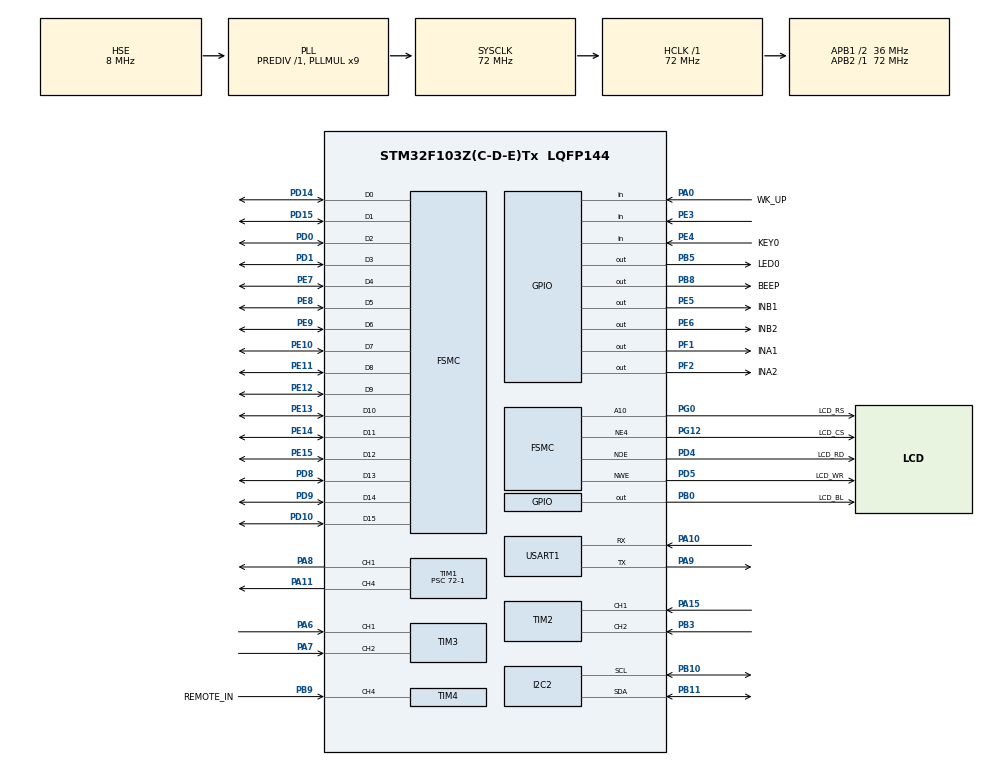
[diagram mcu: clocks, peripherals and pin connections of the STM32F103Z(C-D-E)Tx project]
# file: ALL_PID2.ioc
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FSMC.AddressSetupTime1=0
FSMC.BusTurnAroundDuration1=0
FSMC.DataSetupTime1=1
FSMC.ExtendedAddressSetupTime1=0
FSMC.ExtendedBusTurnAroundDuration1=0
FSMC.ExtendedDataSetupTime1=1
FSMC.ExtendedMode1=FSMC_EXTENDED_MODE_ENABLE
I2C2.I2C_Mode=I2C_Fast
Mcu.Family=STM32F1
Mcu.Name=STM32F103Z(C-D-E)Tx
Mcu.Package=LQFP144
NVIC.PriorityGroup=NVIC_PRIORITYGROUP_2
NVIC.TIM4_IRQn=true\:0\:0\:false\:false\:true\:true\:true\:true
NVIC.TIM6_IRQn=true\:0\:0\:false\:false\:true\:true\:true\:true
NVIC.USART1_IRQn=true\:0\:0\:false\:false\:true\:true\:true\:true
OSC_IN.Mode=HSE-External-Oscillator
OSC_IN.Signal=RCC_OSC_IN
OSC_OUT.Mode=HSE-External-Oscillator
OSC_OUT.Signal=RCC_OSC_OUT
PA0-WKUP.GPIO_Label=WK_UP
PA0-WKUP.GPIO_PuPd=GPIO_PULLDOWN
PA0-WKUP.Signal=GPIO_Input
PA10.Mode=Asynchronous
PA10.Signal=USART1_RX
PA11.Signal=S_TIM1_CH4
PA13.Mode=Serial_Wire
PA13.Signal=SYS_JTMS-SWDIO
PA14.Mode=Serial_Wire
PA14.Signal=SYS_JTCK-SWCLK
PA15.Signal=S_TIM2_CH1_ETR
PA6.Signal=S_TIM3_CH1
PA7.Signal=S_TIM3_CH2
PA8.Signal=S_TIM1_CH1
PA9.Mode=Asynchronous
PA9.Signal=USART1_TX
PB0.GPIO_Label=LCD_BL
PB0.GPIO_PuPd=GPIO_PULLUP
PB0.GPIO_Speed=GPIO_SPEED_FREQ_HIGH
PB0.PinState=GPIO_PIN_SET
PB0.Signal=GPIO_Output
PB10.Mode=I2C
PB10.Signal=I2C2_SCL
PB11.Mode=I2C
PB11.Signal=I2C2_SDA
PB3.Signal=S_TIM2_CH2
PB5.GPIO_Label=LED0
PB5.GPIO_PuPd=GPIO_PULLUP
PB5.GPIO_Speed=GPIO_SPEED_FREQ_HIGH
PB5.PinState=GPIO_PIN_SET
PB5.Signal=GPIO_Output
PB8.GPIO_Label=BEEP
PB8.GPIO_ModeDefaultOutputPP=GPIO_MODE_OUTPUT_PP
PB8.GPIO_PuPd=GPIO_PULLDOWN
PB8.GPIO_Speed=GPIO_SPEED_FREQ_HIGH
PB8.PinState=GPIO_PIN_RESET
PB8.Signal=GPIO_Output
PB9.GPIO_Label=REMOTE_IN
PB9.GPIO_PuPd=GPIO_PULLUP
PB9.Signal=S_TIM4_CH4
PC14-OSC32_IN.Mode=LSE-External-Oscillator
PC14-OSC32_IN.Signal=RCC_OSC32_IN
PC15-OSC32_OUT.Mode=LSE-External-Oscillator
PC15-OSC32_OUT.Signal=RCC_OSC32_OUT
PD0.Signal=FSMC_D2_DA2
PD1.Signal=FSMC_D3_DA3
PD10.Signal=FSMC_D15_DA15
PD14.Signal=FSMC_D0_DA0
PD15.Signal=FSMC_D1_DA1
PD4.GPIO_Label=LCD_RD
PD4.Signal=FSMC_NOE
PD5.GPIO_Label=LCD_WR
PD5.Signal=FSMC_NWE
PD8.Signal=FSMC_D13_DA13
PD9.Signal=FSMC_D14_DA14
PE10.Signal=FSMC_D7_DA7
PE11.Signal=FSMC_D8_DA8
PE12.Signal=FSMC_D9_DA9
PE13.Signal=FSMC_D10_DA10
PE14.Signal=FSMC_D11_DA11
PE15.Signal=FSMC_D12_DA12
PE3.Signal=GPIO_Input
PE4.GPIO_Label=KEY0
PE4.GPIO_PuPd=GPIO_PULLUP
PE4.Signal=GPIO_Input
PE5.GPIO_Label=INB1
PE5.GPIO_PuPd=GPIO_PULLUP
PE5.GPIO_Speed=GPIO_SPEED_FREQ_HIGH
PE5.PinState=GPIO_PIN_SET
PE5.Signal=GPIO_Output
PE6.GPIO_Label=INB2
PE6.GPIO_PuPd=GPIO_PULLUP
PE6.GPIO_Speed=GPIO_SPEED_FREQ_HIGH
PE6.Signal=GPIO_Output
PE7.Signal=FSMC_D4_DA4
PE8.Signal=FSMC_D5_DA5
PE9.Signal=FSMC_D6_DA6
PF1.GPIO_Label=INA1
PF1.GPIO_PuPd=GPIO_PULLUP
PF1.GPIO_Speed=GPIO_SPEED_FREQ_HIGH
PF1.PinState=GPIO_PIN_SET
PF1.Signal=GPIO_Output
PF2.GPIO_Label=INA2
PF2.GPIO_PuPd=GPIO_PULLUP
PF2.GPIO_Speed=GPIO_SPEED_FREQ_HIGH
PF2.Signal=GPIO_Output
PG0.GPIO_Label=LCD_RS
PG0.Signal=FSMC_A10
PG12.GPIO_Label=LCD_CS
PG12.Mode=NorPsramChipSelect4_1
PG12.Signal=FSMC_NE4
ProjectManager.HeapSize=0x200
ProjectManager.StackSize=0x400
ProjectManager.TargetToolchain=STM32CubeIDE
RCC.AHBFreq_Value=72000000
RCC.APB1CLKDivider=RCC_HCLK_DIV2
RCC.APB1Freq_Value=36000000
RCC.APB1TimFreq_Value=72000000
RCC.APB2Freq_Value=72000000
RCC.APB2TimFreq_Value=72000000
RCC.HCLKFreq_Value=72000000
RCC.PLLMUL=RCC_PLL_MUL9
RCC.PLLSourceVirtual=RCC_PLLSOURCE_HSE
RCC.SYSCLKFreq_VALUE=72000000
RCC.SYSCLKSource=RCC_SYSCLKSOURCE_PLLCLK
RCC.USBFreq_Value=72000000
SH.FSMC_A10.0=FSMC_A10,A10_1
SH.FSMC_D0_DA0.0=FSMC_D0,16b-d1
SH.FSMC_D10_DA10.0=FSMC_D10,16b-d1
SH.FSMC_D11_DA11.0=FSMC_D11,16b-d1
SH.FSMC_D12_DA12.0=FSMC_D12,16b-d1
SH.FSMC_D13_DA13.0=FSMC_D13,16b-d1
SH.FSMC_D14_DA14.0=FSMC_D14,16b-d1
SH.FSMC_D15_DA15.0=FSMC_D15,16b-d1
SH.FSMC_D1_DA1.0=FSMC_D1,16b-d1
SH.FSMC_D2_DA2.0=FSMC_D2,16b-d1
SH.FSMC_D3_DA3.0=FSMC_D3,16b-d1
SH.FSMC_D4_DA4.0=FSMC_D4,16b-d1
SH.FSMC_D5_DA5.0=FSMC_D5,16b-d1
SH.FSMC_D6_DA6.0=FSMC_D6,16b-d1
SH.FSMC_D7_DA7.0=FSMC_D7,16b-d1
SH.FSMC_D8_DA8.0=FSMC_D8,16b-d1
SH.FSMC_D9_DA9.0=FSMC_D9,16b-d1
SH.FSMC_NOE.0=FSMC_NOE,Lcd1
SH.FSMC_NWE.0=FSMC_NWE,Lcd1
SH.S_TIM1_CH1.0=TIM1_CH1,PWM Generation1 CH1
SH.S_TIM1_CH4.0=TIM1_CH4,PWM Generation4 CH4
SH.S_TIM2_CH1_ETR.0=TIM2_CH1,Encoder_Interface
SH.S_TIM2_CH2.0=TIM2_CH2,Encoder_Interface
SH.S_TIM3_CH1.0=TIM3_CH1,Encoder_Interface
SH.S_TIM3_CH2.0=TIM3_CH2,Encoder_Interface
SH.S_TIM4_CH4.0=TIM4_CH4,Input_Capture4_from_TI4
TIM1.Channel-PWM\ Generation1\ CH1=TIM_CHANNEL_1
TIM1.Channel-PWM\ Generation4\ CH4=TIM_CHANNEL_4
TIM1.Period=500-1
TIM1.Prescaler=72-1
TIM1.Pulse-PWM\ Generation1\ CH1=250
TIM1.Pulse-PWM\ Generation4\ CH4=250
TIM2.EncoderMode=TIM_ENCODERMODE_TI12
TIM3.EncoderMode=TIM_ENCODERMODE_TI12
TIM4.Channel-Input_Capture4_from_TI4=TIM_CHANNEL_4
TIM4.Period=10000-1
TIM4.Prescaler=72-1
USART1.VirtualMode=VM_ASYNC
VP_TIM1_VS_ClockSourceINT.Mode=Internal
VP_TIM4_VS_ClockSourceINT.Mode=Internal
VP_TIM6_VS_ClockSourceINT.Mode=Enable_Timer
board=custom

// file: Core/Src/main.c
/* USER CODE END Header */
#include "main.h"
#include "i2c.h"
#include "tim.h"
#include "usart.h"
#include "gpio.h"
#include "fsmc.h"

/* USER CODE BEGIN Includes */
#include "../../BSP/LED/led.h"
//#include "../../BSP/KEY/key.h"
#include "../../BSP/LCD/lcd.h"
#include "../../SYSTEM/delay/delay.h"
#include "../../BSP/REMOTE/remote.h"
#include "./mpu6050.h"
#include "string.h"
#include "stdio.h"
#include <stdlib.h>
/* USER CODE END Includes */

/* USER CODE BEGIN PV */
//#define user_main_printf(format, ...)  printf( format "\r\n", ##__VA_ARGS__)
int16_t Get_Left_Motor_Speed(int16_t left_speed_now);
int16_t Get_Right_Motor_Speed(int16_t left_speed_now);
//typedef struct
//{
//  float Kp;                       //锟斤拷锟斤拷系锟斤拷Proportional
//  float Ki;                       //锟斤拷锟斤拷系锟斤拷Integral
//  float Kd;                       //微锟斤拷系锟斤拷Derivative
//
//  float Ek;                       //锟斤拷前 锟斤拷锟�???
//  float Ek1;                      //前一锟斤拷锟斤拷锟� e(k-1)
//  float Ek2;                      //锟斤拷前�???锟斤拷锟斤拷锟� e(k-2)
//  float LocSum;                   //锟桔计伙拷锟斤拷位锟斤拷
//}PID_LocTypeDef;

typedef struct
{
    float Kp;   // 比例系数
    float Ki;   // 积分系数
    float Kd;   // 微分系数

    float Ek;   // 当前误差 e(k)
    float Ek1;  // 前一次误差 e(k-1)
    float Ek2;  // 前两次误差 e(k-2)
    float LastOutput; // 上次输出(用于增量累加)
} PID_IncTypeDef;

void Send_USART_String(UART_HandleTypeDef *huart, const char *str) {
    HAL_UART_Transmit(huart, (uint8_t *)str, strlen(str), HAL_MAX_DELAY);
}
//float PID_Loc(float SetValue, float ActualValue, PID_LocTypeDef *PID)
//{
//  float PIDLoc;                                  //位锟斤拷
//	static int16_t err_lowout,err_lowout_last;
//
//  PID->Ek = SetValue - ActualValue;
//	err_lowout = 0.3* PID->Ek+0.7*err_lowout_last;
//	err_lowout_last=err_lowout;
//-

//  PID->LocSum += err_lowout;                         //锟桔硷拷锟斤拷锟�???
//
//  PIDLoc = PID->Kp * PID->Ek + (PID->Ki * PID->LocSum) + PID->Kd * (PID->Ek1 - PID->Ek);
//
//  PID->Ek1 = PID->Ek;  return PIDLoc;
//}
#define IntegralLimit 300.0  // 锟斤拷锟斤拷锟睫凤拷�???
uint8_t len;
uint8_t value1=0;
uint8_t value2;
uint8_t value3;
double number;
char data1[20], data2[20];
//float PID_Loc(float SetValue, float ActualValue, PID_LocTypeDef *PID)
//{
//    float PIDLoc;                                  // PID 锟斤拷锟�???
//    static int16_t err_lowout, err_lowout_last;    // �???锟斤拷锟剿诧拷锟桔伙拷锟斤拷锟街�???
//    static float prev_diff = 0.0;                  // 锟剿诧拷前锟斤拷微锟斤拷锟斤�???
//
//    PID->Ek = SetValue - ActualValue;              // 锟斤拷前锟斤拷锟�???
//
//    // �???锟斤拷锟剿诧拷锟斤拷锟斤拷锟斤拷锟�
//    err_lowout = 0.3 * PID->Ek + 0.7 * err_lowout_last;
//    err_lowout_last = err_lowout;
//
//    // 锟桔伙拷锟斤拷睿拷锟斤拷锟斤拷睿�
//    PID->LocSum += err_lowout;
//
//    // 锟斤拷锟斤拷锟斤拷锟斤拷锟狡ｏ拷锟斤拷止锟斤拷锟街憋拷锟酵ｏ�???
//    if (PID->LocSum > IntegralLimit) {
//        PID->LocSum = IntegralLimit;
//    } else if (PID->LocSum < -IntegralLimit) {
//        PID->LocSum = -IntegralLimit;
//    }
//
//
//    float diff = PID->Ek - PID->Ek1;
//    prev_diff = 0.6 * diff + 0.4 * prev_diff;
//
//    PIDLoc = PID->Kp * PID->Ek + (PID->Ki * PID->LocSum) + PID->Kd * prev_diff;
//
//
//    PID->Ek1 = PID->Ek;
//
//    return PIDLoc;
//}

/* 增量式PID计算函数 */
float PID_Loc(float SetValue, float ActualValue, PID_IncTypeDef *PID)
{
    float deltaU;  // 增量输出
    static int16_t err_lowout, err_lowout_last;

    /* 误差处理（保留原有的低通滤波） */
    PID->Ek = SetValue - ActualValue;
    err_lowout = 0.3 * PID->Ek + 0.7 * err_lowout_last;
    err_lowout_last = err_lowout;

    /* 增量PID计算 */
    deltaU = PID->Kp * (err_lowout - PID->Ek1) +
             PID->Ki * err_lowout +
             PID->Kd * (err_lowout - 2 * PID->Ek1 + PID->Ek2);

    /* 更新误差历史 */
    PID->Ek2 = PID->Ek1;
    PID->Ek1 = err_lowout;

    /* 计算实际输出（增量累加） */
    PID->LastOutput += deltaU;

    /* 输出限幅（根据实际需求调整限幅值） */
    const float OutMax = 5000.0f;
    const float OutMin = -5000.0f;

    if(PID->LastOutput > OutMax) PID->LastOutput = OutMax;
    else if(PID->LastOutput < OutMin) PID->LastOutput = OutMin;

    return PID->LastOutput;
}

float PID_Loc1(float SetValue, float ActualValue, PID_IncTypeDef *PID)
{
    float deltaU;  // 增量输出
    static int16_t err_lowout, err_lowout_last;

    /* 误差处理（保留原有的低通滤波） */
    PID->Ek = SetValue - ActualValue;
    err_lowout = 0.3 * PID->Ek + 0.7 * err_lowout_last;
    err_lowout_last = err_lowout;

    /* 增量PID计算 */
    deltaU = PID->Kp * (err_lowout - PID->Ek1) +
             PID->Ki * err_lowout +
             PID->Kd * (err_lowout - 2 * PID->Ek1 + PID->Ek2);

    /* 更新误差历史 */
    PID->Ek2 = PID->Ek1;
    PID->Ek1 = err_lowout;

    /* 计算实际输出（增量累加） */
    PID->LastOutput += deltaU;

    /* 输出限幅（根据实际需求调整限幅值） */
    const float OutMax = 5000.0f;
    const float OutMin = -5000.0f;

    if(PID->LastOutput > OutMax) PID->LastOutput = OutMax;
    else if(PID->LastOutput < OutMin) PID->LastOutput = OutMin;

    return PID->LastOutput;
}

/**
 * 从字符串中提取 z 和 x 之间的数据，并转换为浮点数
 * @param input 输入字符串
 * @param value 存储提取的浮点数结果
 * @return 0 成功，-1 失败
 */
int extractZXData(const char *input, double *value) {
    // 查找 'z' 的位置
    const char *start = strchr(input, 'z');
    if (start == NULL) return -1;

    // 在 'z' 后查找第一个 'x'
    const char *end = strchr(start + 1, 'x');
    if (end == NULL) return -1;

    // 计算数据长度
    size_t len = end - start - 1;
    if (len <= 0) return -1;

    // 提取字符串数据
    char buffer[64]; // 假设数据不超过63字符
    strncpy(buffer, start + 1, len);
    buffer[len] = '\0';

    // 转换为浮点数
    char *endptr;
    *value = strtod(buffer, &endptr);

    // 检查转换是否完全成功
    if (endptr == buffer || *endptr != '\0') {
        return -1; // 转换失败（非数字内容）
    }

    return 0;
}

int extractData(const char *input, char *data1, char *data2) {
    // 查找第一个x和y的位置
    const char *start1 = strchr(input, 'x');
    if (!start1) return -1; // 找不到x，返回错误

    const char *end1 = strchr(start1 + 1, 'y');
    if (!end1) return -1; // 找不到y，返回错误

    // 提取第一个数据
    size_t len1 = end1 - start1 - 1;
    if (len1 <= 0) return -1; // 数据长度为0
    strncpy(data1, start1 + 1, len1);
    data1[len1] = '\0'; // 确保字符串终止

    // 查找第二个x和y的位置
    const char *start2 = strchr(end1 + 1, 'x');
    if (!start2) return -1;

    const char *end2 = strchr(start2 + 1, 'y');
    if (!end2) return -1;

    // 提取第二个数据
    size_t len2 = end2 - start2 - 1;
    if (len2 <= 0) return -1;
    strncpy(data2, start2 + 1, len2);
    data2[len2] = '\0';

    return 0; // 成功提取
}

void parse_data(char *input) {
    char *token = strtok(input, ","); // 使用逗号分割
    while (token != NULL) {
    	char q1;
//    	q1=token;
        value1 = atoi(token);
         printf("Data: %d\n", value1);
         printf("\r\nData: %s\n", token);
//         if(token == '0x01')printf("ok");
        token = strtok(NULL, ","); // 获取下一个数据
    }
}

void Right_Motor_Forward(){
  HAL_GPIO_WritePin(INA1_GPIO_Port, INA1_Pin,GPIO_PIN_SET);
            HAL_GPIO_WritePin(INA2_GPIO_Port, INA2_Pin,GPIO_PIN_RESET);
//            HAL_GPIO_WritePin(INB1_GPIO_Port, INB1_Pin,GPIO_PIN_SET);
//            HAL_GPIO_WritePin(INB2_GPIO_Port, INB2_Pin,GPIO_PIN_RESET);
}
void Right_Motor_Reverse(){
  HAL_GPIO_WritePin(INA1_GPIO_Port, INA1_Pin,GPIO_PIN_RESET);
            HAL_GPIO_WritePin(INA2_GPIO_Port, INA2_Pin,GPIO_PIN_SET);
//            HAL_GPIO_WritePin(INB1_GPIO_Port, INB1_Pin,GPIO_PIN_RESET);
//            HAL_GPIO_WritePin(INB2_GPIO_Port, INB2_Pin,GPIO_PIN_SET);
}
void Left_Motor_Forward(){

            HAL_GPIO_WritePin(INB1_GPIO_Port, INB1_Pin,GPIO_PIN_SET);
            HAL_GPIO_WritePin(INB2_GPIO_Port, INB2_Pin,GPIO_PIN_RESET);
}
void Left_Motor_Reverse(){

            HAL_GPIO_WritePin(INB1_GPIO_Port, INB1_Pin,GPIO_PIN_RESET);
            HAL_GPIO_WritePin(INB2_GPIO_Port, INB2_Pin,GPIO_PIN_SET);
}

int fputc(int ch, FILE *f){
 uint8_t temp[1] = {ch};
 HAL_UART_Transmit(&huart1, temp, 1, 0xffff);
return ch;
}
int fgetc(FILE * f)
{
  uint8_t ch = 0;
  HAL_UART_Receive(&huart1,&ch, 1, 0xffff);
  return ch;
}
/* USER CODE END PV */

void SystemClock_Config(void);

/* USER CODE BEGIN 0 */
unsigned int  leftSpeed; // 锟斤拷锟斤拷锟角帮拷俣锟斤拷锟街碉拷锟斤拷颖锟斤拷锟斤拷锟斤拷谢锟饺�???
  unsigned int rightSpeed;
/* USER CODE END 0 */

int main(void)
{
  /* USER CODE BEGIN 1 */
  uint8_t x = 0;
  uint8_t lcd_id[12];
  uint8_t key;
  uint8_t len;
  uint8_t angle=70;
  uint8_t t = 0;
  char *str = 0;
  int16_t left_speed_now;
  int16_t right_speed_now;
  static int16_t speed_left_SetPoint = 0.0f;
  static int16_t speed_right_SetPoint = 0.0f;
//  PID_LocTypeDef left_speed_PID = {115,0.0,0.0,0.0,0.0,0.0};
  /* USER CODE END 1 */

  /* MCU Configuration--------------------------------------------------------*/

  /* Reset of all peripherals, Initializes the Flash interface and the Systick. */
  HAL_Init();

  /* Configure the system clock */
  SystemClock_Config();

  /* USER CODE BEGIN SysInit */
  delay_init(72);						   /* 锟斤拷始锟斤拷锟斤拷时锟斤拷锟斤�??? */
  /* USER CODE END SysInit */

  /* Initialize all configured peripherals */
  MX_GPIO_Init();
  MX_FSMC_Init();
  MX_TIM4_Init();
  MX_TIM1_Init();
  MX_TIM2_Init();
  MX_TIM3_Init();
  MX_TIM6_Init();
  MX_I2C2_Init();
  MX_USART1_UART_Init();
  /* USER CODE BEGIN 2 */
//  BSP_MPU6050_Init();
//  BSP_MPU6050_UpdateSensors();
  IMU_SensorData_Raw_Structer IMU_SensorData_Raw;

  lcd_init();/* 锟斤拷始锟斤拷LCD */
//  lcd_show_string(30, 50, 200, 16, 16, "STM32", RED);
//  lcd_show_string(30, 70, 200, 16, 16, "REMOTE TEST", RED);
//  lcd_show_string(30, 90, 200, 16, 16, "ATOM@ALIENTEK", RED);
//  lcd_show_string(30, 110, 200, 16, 16, "KEYVAL:", RED);
//  lcd_show_string(30, 130, 200, 16, 16, "KEYCNT:", RED);/* 锟斤拷示LCD ID */

  HAL_TIM_PWM_Start(&htim2,TIM_CHANNEL_1);//锟斤�???
    HAL_TIM_PWM_Start(&htim2,TIM_CHANNEL_2);//锟斤�???
    HAL_TIM_PWM_Start(&htim3,TIM_CHANNEL_1);//锟斤�???
    HAL_TIM_PWM_Start(&htim3,TIM_CHANNEL_2);//锟斤�???

    __HAL_TIM_CLEAR_FLAG(&htim6,TIM_FLAG_UPDATE);
    HAL_TIM_Base_Start_IT(&htim6);

  g_point_color = RED;
//  sprintf((char *)lcd_id, "LCD ID:%04X", lcddev.id);  /* 锟斤拷LCD ID锟斤拷印锟斤拷lcd_id锟斤拷锟斤拷 */
char a="asdsadas";

//  __HAL_TIM_SET_COMPARE(&htim1, TIM_CHANNEL_1, 100);
//  __HAL_TIM_SET_COMPARE(&htim1, TIM_CHANNEL_4, 100);
//  HAL_GPIO_WritePin(INA1_GPIO_Port, INA1_Pin,GPIO_PIN_RESET);
//  HAL_GPIO_WritePin(INA2_GPIO_Port, INA2_Pin,GPIO_PIN_SET);
//  HAL_GPIO_WritePin(INB1_GPIO_Port, INB1_Pin,GPIO_PIN_RESET);
//  HAL_GPIO_WritePin(INB2_GPIO_Port, INB2_Pin,GPIO_PIN_SET);

PID_IncTypeDef motorPID = {
    .Kp = 65.2,
    .Ki = 0.05,
    .Kd = 0.5,
    .Ek = 0,
    .Ek1 = 0,
    .Ek2 = 0,
    .LastOutput = 0
};

PID_IncTypeDef motorPID1 = {
    .Kp = 65.2,
    .Ki =0.2,
    .Kd = 0.05,
    .Ek = 0,
    .Ek1 = 0,
    .Ek2 = 0,
    .LastOutput = 0
};

  /* USER CODE END 2 */

  /* Infinite loop */
  while (1)
  {

    /* USER CODE BEGIN 3 */
//      user_main_printf("hello world!");

//    char  ch="hel";
//          HAL_UART_Transmit(&huart1,&ch,1,0);
//      Send_USART_String(&huart3, "Hello, STM32!\n");
      char str1[20]; // 存储转换后的字符�???
      char str2[20];
      char str3[20];
      char str4[20];
      char str5[len + 1];
        memset(str5, 0, sizeof(str5));
         // 使用 sprintf 将整数转换为字符�???
int value;

//      int aq=123456;
//        sprintf(str1, "%d", aq);
//      printf("%s\r\n",str1);
//      printf(132);

//      HAL_UART_Transmit(&huart1, "qwe\r\n", 30, HAL_MAX_DELAY);
      Get_Motor_Speed(&leftSpeed,&rightSpeed);
//      printf("%d \n",leftSpeed);

//      left_speed_now = Get_Left_Motor_Speed(left_speed_now);
      left_speed_now =Get_Right_Motor_Speed(left_speed_now);
      right_speed_now=-Get_Left_Motor_Speed(right_speed_now);
//                __HAL_TIM_SET_COMPARE(&htim1, TIM_CHANNEL_4, PID_Loc(abs(speed_left_SetPoint), abs(left_speed_now),&left_speed_PID));
//      float left_pid_output = PID_Loc(speed_left_SetPoint,left_speed_now, &left_speed_PID);
//float right_pid_output=PID_Loc(speed_right_SetPoint,right_speed_now, &left_speed_PID);
      float left_pid_output = PID_Loc(left_speed_now,speed_left_SetPoint,&motorPID);
  float right_pid_output=PID_Loc1(right_speed_now,speed_right_SetPoint, &motorPID1);

//
//      if (left_pid_output < 0) {
//	   Right_Motor_Reverse();
//
//      } else {
//	  Right_Motor_Forward();
//
//      }
//
//       if (right_pid_output > 0) {
////		  Left_Motor_Reverse();
//      	 Left_Motor_Forward();
////      	Left_Motor_Reverse();
//            } else {
//      	 Left_Motor_Reverse();
////      	Left_Motor_Forward();
//            }
  if (left_pid_output > 0) {
   Right_Motor_Reverse();

  } else {
  Right_Motor_Forward();

  }

   if (right_pid_output < 0) {
//		  Left_Motor_Reverse();
  	 Left_Motor_Forward();
//      	Left_Motor_Reverse();
        } else {
  	 Left_Motor_Reverse();
//      	Left_Motor_Forward();
        }

     __HAL_TIM_SET_COMPARE(&htim1, TIM_CHANNEL_1, abs(right_pid_output));
     __HAL_TIM_SET_COMPARE(&htim1, TIM_CHANNEL_4, abs(left_pid_output));
//                lcd_show_num(100, 210,abs(left_pid_output), 10, 16, RED);
//                lcd_show_string(10, 210, 240, 16, 16, "pidout", RED);
//                lcd_show_string(10, 230, 240, 16, 16, "Kp", RED);
//                lcd_show_num(100, 230,left_speed_PID.Kp, 10, 16, RED);
//                lcd_show_string(10, 250, 240, 16, 16, "Ki", RED);
//                lcd_show_num(100, 250,left_speed_PID.Ki, 10, 16, RED);
     lcd_show_num(100, 210,abs(left_pid_output), 10, 16, RED);
                     lcd_show_string(10, 210, 240, 16, 16, "pidout", RED);
                     lcd_show_string(10, 230, 240, 16, 16, "Kp", RED);
                     lcd_show_num(100, 230,motorPID.Kp, 10, 16, RED);
                     lcd_show_string(10, 250, 240, 16, 16, "Ki", RED);
                     lcd_show_num(100, 250,motorPID.Ki, 10, 16, RED);
//                printf("%d,%d",&left_speed_now, &pid_output);
//                printf("%lf,%lf,%lf\r\n",left_speed_PID.Kp,left_speed_PID.Ki,left_speed_PID.Kd);
                sprintf(str1, "%d", left_speed_now);
                sprintf(str2, "%d", speed_left_SetPoint);
                sprintf(str3, "%d", right_speed_now);

//                 printf("%s,%s,%s,%lf,%lf \r\n",str1,str3,str2,left_speed_PID.Kp,left_speed_PID.Ki);

//                printf("%s  %s %s\r\n",str1,str3,str2);
//                printf("ALIENTEK\r\n\r\n\r\n");
//                if (g_usart_rx_sta & 0x8000)        /* 接收到了数据? */
//               		  {
//               			  len = g_usart_rx_sta & 0x3fff;  /* 得到此次接收到的数据长度 */
////               			  printf("\r\THE code is:\r\n");
//
//               			  HAL_UART_Transmit(&huart1,(uint8_t*)g_usart_rx_buf, len, 1000);    /* 发送接收到的数据 */
//
//
//               			  while(__HAL_UART_GET_FLAG(&huart1, UART_FLAG_TC) != SET);          /* 等待发送结束 */
//
//               			  printf("\r\n\r\n");             /* 插入换行 */
//               			  g_usart_rx_sta = 0;
//               		  }
//
//                else
//                	{
////                	printf("***%s %s %s &&&\r\n",str1,str3,str2);
////                	HAL_Delay(20);
//                	for (uint16_t i = 0; i < len; i++) {
//               						      str5[i] = g_usart_rx_buf[i];
//               						  }
//               						  str5[len] = '\0';
//               						   value = atoi(str5);
//               						printf("***%s %s %s %d&&&\r\n",str1,str3,str2,value);
//               						                	HAL_Delay(20);
////               						  printf("\r\ndouble: %d\n", value);
//                	}
//
                if (g_usart_rx_sta & 0x8000)        /* 接收到了数据? */
                {
                    len = g_usart_rx_sta & 0x3fff;  /* 得到此次接收到的数据长度 */
                    HAL_UART_Transmit(&huart1, (uint8_t*)g_usart_rx_buf, len, 1000);    /* 发送接收到的数据 */
                    while (__HAL_UART_GET_FLAG(&huart1, UART_FLAG_TC) != SET);          /* 等待发送结束 */
                    printf("\r\n\r\n");             /* 插入换行 */

                    g_usart_rx_sta = 0;
                }
                else
                {
                    // 判断数据的第一个字节是 0x01 还是 0x02
//                    if (g_usart_rx_buf[0] == 0x01) {
//                        // 主机命令
////                        printf("*** Host command received: 0x01 ***\r\n");
//                        // 这里可以添加主机命令的处理逻辑
//                        HAL_Delay(20);
//                    } else if (g_usart_rx_buf[0] == 0x02) {
//                        // yaw 数据
////                        printf("*** Yaw data received: 0x02 ***\r\n");
//                        // 这里可以添加 yaw 数据的处理逻辑
//                        HAL_Delay(20);
//                    }
                    // 清空接收缓冲区参数
                    for (uint16_t i = 0; i < len; i++) {
                        str5[i] = g_usart_rx_buf[i];
                    }
                    str5[len] = '\0';
                    value = atoi(str5);

//                    parse_data(str5);
                    if (extractData(str5, data1, data2) == 0) {
                            printf("\r\nData1: %s\n", data1); // 输出 Apple
                            printf("\r\nData2: %s\n", data2); // 输出 Orange
                        } else {
//                            printf("提取失败：格式错误\n");
                        }

                    value2 = atoi(data1);
                    value3 = atoi(data2);
                    lcd_show_num(100, 270,value1, 10, 16, BLUE);
                    lcd_show_num(100, 290,value2, 10, 16, BLUE);
                    lcd_show_num(10, 300,value3, 10, 16, BLUE);
                    if (extractZXData(str5, &number) == 0) {
                            printf("\r\n%.2f\n", number); // 输出 45.20
                        } else {
//                            printf("提取失败：无效格式\n");
                        }
                    value1=number;
                      printf("***%s %s %s&&&\r\n", str1, str3, str2);
                }
                speed_right_SetPoint=value3;
                      speed_left_SetPoint=value2;

//                if (g_usart_rx_sta & 0x8000) {
//                    len = g_usart_rx_sta & 0x3fff;
//                    extract_data(g_usart_rx_buf, len);
//                    g_usart_rx_sta = 0;
//                }

//int *a123=*(uint8_t*)g_usart_rx_buf;
//                uint8_t value = *((uint8_t*)g_usart_rx_buf);
//                sprintf(str4, "%d", value);

//                if (value<0){value=abs(value)+180;}
//lcd_show_num(100, 270,value, 10, 16, BLUE);
//                lcd_show_string(10, 270, 240, 16, 16, "yaw", RED);
//
//
//                if(value!=0){
//
//
//                              if(value>angle+5 ){
//                            	 speed_right_SetPoint=5;
//                            	 speed_left_SetPoint=-5;
//                //                	Left_Motor_Forward();
//                //                	Right_Motor_Reverse();
//                //                	 __HAL_TIM_SET_COMPARE(&htim1, TIM_CHANNEL_1, 100);
//                //                	      __HAL_TIM_SET_COMPARE(&htim1, TIM_CHANNEL_4, 100);
//                             }
//
//                             else if(value<angle-5) {
//                            	 speed_right_SetPoint=-5;
//                            	 speed_left_SetPoint=5;
//
////                             	Right_Motor_Forward();
////                             	                	Left_Motor_Reverse();
//                //                	                	__HAL_TIM_SET_COMPARE(&htim1, TIM_CHANNEL_1, 100);
//                //                	                	                	      __HAL_TIM_SET_COMPARE(&htim1, TIM_CHANNEL_4, 100);
//                             }
//                             else{
//
//                            	  speed_right_SetPoint=0;
//                            	 speed_left_SetPoint=0;
//                            	 left_pid_output=0;
//                            	 right_pid_output=0;
//
//                             	 __HAL_TIM_SET_COMPARE(&htim1, TIM_CHANNEL_1, 0);
//                             	                	      __HAL_TIM_SET_COMPARE(&htim1, TIM_CHANNEL_4, 0);
//                             }
//                }

              //                printf("%lf %lf %lf\n",&left_speed_PID.Kp,&left_speed_PID.Ki,&left_speed_PID.Kd);
//printf("Hello, STM32!\r\n");

//      BSP_MPU6050_UpdateSensors();
//  float a=IMU_SensorData_Raw.ACC_X;
//     lcd_show_num(5, 230, IMU_SensorData_Raw.ACC_X, 10, 16,  BLUE);
//     lcd_show_num(15, 210, IMU_SensorData_Raw.ACC_Y, 10, 16,  BLUE);
//     lcd_show_num(15, 190, IMU_SensorData_Raw.ACC_Z, 10, 16,  BLUE);
//     lcd_show_num(20, 170, IMU_SensorData_Raw.GYR_X, 10, 16,  BLUE);
//     lcd_show_num(25, 150, IMU_SensorData_Raw.GYR_Y, 10, 16,  BLUE);
//     lcd_show_num(30, 130, IMU_SensorData_Raw.GYR_Z, 10, 16,  BLUE);
//lcd_show_num(10, 250, key, 3, 16, BLUE);
      key = remote_scan();
           if (key)
           {
           lcd_show_num(10, 270, key, 3, 16, BLUE);
           lcd_show_num(10, 290, g_remote_cnt, 3, 16, BLUE);
           switch (key)
           {
           case 0:
           str = "ERROR";
           break;
           case 69:
           str = "POWER";
           HAL_GPIO_WritePin(INA1_GPIO_Port, INA1_Pin,GPIO_PIN_RESET);
           HAL_GPIO_WritePin(INA2_GPIO_Port, INA2_Pin,GPIO_PIN_RESET);
           HAL_GPIO_WritePin(INB1_GPIO_Port, INB1_Pin,GPIO_PIN_RESET);
           HAL_GPIO_WritePin(INB2_GPIO_Port, INB2_Pin,GPIO_PIN_RESET);
           break;
           case 70:
                    str = "UP";
                    speed_left_SetPoint = 50.0f;
                    speed_right_SetPoint = 50.0f;
                    break;
                    case 64:
                    str = "PLAY";
                    speed_left_SetPoint = 0.0f;
                              speed_right_SetPoint = 0.0f;
                    break;
                    case 71:
                    str = "ALIENTEK";
                    break;
                    case 67:
                    str = "RIGHT";
                    speed_left_SetPoint = -50.0f;
                              speed_right_SetPoint = 50.0f;
                    break;
                    case 68:
                    str = "LEFT";
                    speed_left_SetPoint = 50.0f;
                   speed_right_SetPoint = -50.0f;
                   break;
                    case 7:
                    str = "VOL-";
                    speed_left_SetPoint = 0.0f;
                              speed_right_SetPoint = 0.0f;
                    break;
                    case 21:
                    str = "DOWN";
                    speed_left_SetPoint = -50.0f;
                              speed_right_SetPoint = -50.0f;
                              break;
           case 9:
           str = "VOL+";
           break;
           case 22:
           str = "1";
//           HAL_GPIO_WritePin(INA1_GPIO_Port, INA1_Pin,GPIO_PIN_RESET);
//           HAL_GPIO_WritePin(INA2_GPIO_Port, INA2_Pin,GPIO_PIN_SET);
//           HAL_GPIO_WritePin(INB1_GPIO_Port, INB1_Pin,GPIO_PIN_RESET);
//           HAL_GPIO_WritePin(INB2_GPIO_Port, INB2_Pin,GPIO_PIN_SET);
           break;
           case 25:
           str = "2";
//           HAL_GPIO_WritePin(INA1_GPIO_Port, INA1_Pin,GPIO_PIN_RESET);
//           HAL_GPIO_WritePin(INA2_GPIO_Port, INA2_Pin,GPIO_PIN_SET);
//           HAL_GPIO_WritePin(INB1_GPIO_Port, INB1_Pin,GPIO_PIN_RESET);
//           HAL_GPIO_WritePin(INB2_GPIO_Port, INB2_Pin,GPIO_PIN_SET);
           break;
           case 13:
           str = "3";
           case 12:
           str = "4";
           speed_left_SetPoint=-20;
//           HAL_GPIO_WritePin(INA1_GPIO_Port, INA1_Pin,GPIO_PIN_SET);
//           HAL_GPIO_WritePin(INA2_GPIO_Port, INA2_Pin,GPIO_PIN_RESET);
//           HAL_GPIO_WritePin(INB1_GPIO_Port, INB1_Pin,GPIO_PIN_SET);
//           HAL_GPIO_WritePin(INB2_GPIO_Port, INB2_Pin,GPIO_PIN_RESET);
           break;
           case 24:
           str = "5";
//           left_speed_PID.Kp+=0.5;
           break;
           case 94:
           str = "6";
//           left_speed_PID.Kp-=0.5;
//           int left_speed_now;
//           left_speed_now = Get_Left_Motor_Speed(left_speed_now);
//                     __HAL_TIM_SET_COMPARE(&htim1, TIM_CHANNEL_4, PID_Loc(abs(speed_left_SetPoint), abs(left_speed_now),&left_speed_PID));
//                     lcd_show_num(100, 210, PID_Loc(abs(speed_left_SetPoint), abs(left_speed_now),&left_speed_PID), 10, 16, RED);
           break;
           case 8:
           str = "7";
//           speed_left_SetPoint=20;
           break;
           case 28:
           str = "8";
//           left_speed_PID.Ki+=0.1;
           break;
           case 90:
           str = "9";
//           left_speed_PID.Ki-=0.1;
           break;
           case 66:
           str = "0";
           speed_left_SetPoint=50;
           break;
           case 74:
           str = "DELETE";
//           left_speed_PID.Ki+=5;
           break;
           }
//           lcd_fill(86, 150, 116 + 8 * 8, 170 + 16, WHITE);
//           lcd_show_string(86, 150, 200, 16, 16, str, BLUE);
           }
           else
           {
           delay_ms(10);
           } t ++;
           if (t == 20)
             {
             t = 0;
             LED0_TOGGLE(); /* LED0 锟斤拷烁 */
             }
  }
  /* USER CODE END 3 */
}

void SystemClock_Config(void)
{
  RCC_OscInitTypeDef RCC_OscInitStruct = {0};
  RCC_ClkInitTypeDef RCC_ClkInitStruct = {0};

  /** Initializes the RCC Oscillators according to the specified parameters
  * in the RCC_OscInitTypeDef structure.
  */
  RCC_OscInitStruct.OscillatorType = RCC_OSCILLATORTYPE_HSE;
  RCC_OscInitStruct.HSEState = RCC_HSE_ON;
  RCC_OscInitStruct.HSEPredivValue = RCC_HSE_PREDIV_DIV1;
  RCC_OscInitStruct.HSIState = RCC_HSI_ON;
  RCC_OscInitStruct.PLL.PLLState = RCC_PLL_ON;
  RCC_OscInitStruct.PLL.PLLSource = RCC_PLLSOURCE_HSE;
  RCC_OscInitStruct.PLL.PLLMUL = RCC_PLL_MUL9;
  if (HAL_RCC_OscConfig(&RCC_OscInitStruct) != HAL_OK)
  {
    Error_Handler();
  }

  /** Initializes the CPU, AHB and APB buses clocks
  */
  RCC_ClkInitStruct.ClockType = RCC_CLOCKTYPE_HCLK|RCC_CLOCKTYPE_SYSCLK
                              |RCC_CLOCKTYPE_PCLK1|RCC_CLOCKTYPE_PCLK2;
  RCC_ClkInitStruct.SYSCLKSource = RCC_SYSCLKSOURCE_PLLCLK;
  RCC_ClkInitStruct.AHBCLKDivider = RCC_SYSCLK_DIV1;
  RCC_ClkInitStruct.APB1CLKDivider = RCC_HCLK_DIV2;
  RCC_ClkInitStruct.APB2CLKDivider = RCC_HCLK_DIV1;

  if (HAL_RCC_ClockConfig(&RCC_ClkInitStruct, FLASH_LATENCY_2) != HAL_OK)
  {
    Error_Handler();
  }
}

/* USER CODE BEGIN 4 */
int getTIMx_DetaCnt(TIM_HandleTypeDef *htim)
{
    int cnt;
    cnt = htim->Instance->CNT - 0x7FFF;
    htim->Instance->CNT = 0x7FFF;
    lcd_show_string(10, 50, 240, 16, 16, "CNT", RED);
    lcd_show_num(10, 70, cnt, 10, 16, RED);
    return cnt;
}

int16_t Get_Right_Motor_Speed(int16_t leftSpeed)
{
			static int leftWheelEncoderNow    = 0;
			static int leftWheelEncoderLast   = 0;

			//锟斤拷录锟斤拷锟斤拷锟斤拷锟斤拷锟斤拷锟斤拷锟斤拷锟�???
			leftWheelEncoderNow +=  getTIMx_DetaCnt(&htim3);;

			//5ms锟斤拷锟斤拷
			leftSpeed   =  20 * (leftWheelEncoderNow - leftWheelEncoderLast)*10 / 1000;  //锟劫讹拷为cm/s
			//锟斤拷录锟较次憋拷锟斤拷锟斤拷锟斤拷锟斤�???
			leftWheelEncoderLast  = leftWheelEncoderNow;
      return leftSpeed;

}
int16_t Get_Left_Motor_Speed(int16_t rightSpeed)
{
			static int rightWheelEncoderNow   = 0;
			static int rightWheelEncoderLast  = 0;

			//锟斤拷录锟斤拷锟斤拷锟揭憋拷锟斤拷锟斤拷锟斤拷锟斤拷
			rightWheelEncoderNow+= getTIMx_DetaCnt(&htim2);

			rightSpeed  =  20.7 * (rightWheelEncoderNow - rightWheelEncoderLast)*10/ 1000;

			//锟斤拷录锟较次憋拷锟斤拷锟斤拷锟斤拷锟斤�???
			rightWheelEncoderLast = rightWheelEncoderNow;
      return rightSpeed;
}

void Get_Motor_Speed(int *leftSpeed, int *rightSpeed)
{
  char str[1000];
//  lcd_show_num(10, 250,6666, 4, 16, BLUE);
//  printf("\r\n6666\r\n");
//  lcd_clear(BLACK);
  lcd_show_string(10, 20, 240, 16, 16, "rightSpeed", RED);
  lcd_show_string(100, 20, 240, 16, 16, "lefttSpeed", BLUE);

//  *rightSpeed = getTIMx_DetaCnt(&htim3); *leftSpeed = getTIMx_DetaCnt(&htim2);
  *rightSpeed =Get_Right_Motor_Speed(rightSpeed);
  *leftSpeed = Get_Left_Motor_Speed(leftSpeed);
    lcd_show_string(10, 90, 240, 16, 16, "+turn", RED);
    lcd_show_string(10, 130, 240, 16, 16, "-turn", RED);
    if( *rightSpeed<0  )

      {

//	 intToString(*rightSpeed, str);
//	 lcd_show_string(10, 150, 240, 16, 16, str, RED);
//	lcd_show_num(10, 150,abs(*rightSpeed/4) , 10, 16, RED);
	lcd_show_num(10, 150,abs(*rightSpeed) , 10, 16, RED);

      }
    else  {
//lcd_show_num(10, 110, *rightSpeed/4, 10, 16, RED);
lcd_show_num(10, 110, *rightSpeed, 10, 16, RED);

    }

if (*leftSpeed>=0){
//    intToString(*leftSpeed*2, str);
//  lcd_show_string(90, 150, 240, 16, 16, str, BLUE);}
//     lcd_show_num(92, 150, *leftSpeed/4, 10, 16,  BLUE);}
lcd_show_num(92, 150, *leftSpeed, 10, 16,  BLUE);}
else
//  lcd_show_num(90, 110,abs(*leftSpeed/4) , 10, 16, BLUE);
  lcd_show_num(90, 110,abs(*leftSpeed) , 10, 16, BLUE);

//start();
//lcd_show_num(10, 260, g_remote_cnt, 3, 16, BLUE);

//
//if (g_remote_sta & 0x80)      /* 锟较达拷锟斤拷锟斤拷锟捷憋拷锟斤拷锟秸碉拷锟斤拷 */
//          {
//              g_remote_sta &= ~0X10;    /* 取锟斤拷锟斤拷锟斤拷锟斤拷锟窖撅拷锟斤拷锟斤拷锟斤拷锟斤�??? */
//
//              if ((g_remote_sta & 0X0F) == 0X00)
//              {
//                  g_remote_sta |= 1 << 6; /* 锟斤拷锟斤拷丫锟斤拷锟斤拷一锟轿帮拷锟斤拷锟侥硷拷�?�锟斤拷息锟缴硷�??? */
//              }
//
//              if ((g_remote_sta & 0X0F) < 14)
//              {
//                  g_remote_sta++;
//              }
//              else
//              {
//                  g_remote_sta &= ~(1 << 7);    /* 锟斤拷锟斤拷锟斤拷锟斤拷锟绞�??? */
//                  g_remote_sta &= 0XF0;         /* 锟斤拷占锟斤拷锟斤拷锟� */
//              }
//          }

}

void HAL_TIM_PeriodElapsedCallback(TIM_HandleTypeDef *htim)
{

    if (htim == &htim4){
      if (htim->Instance == REMOTE_IN_TIMX)
      {
          if (g_remote_sta & 0x80)      /* 锟较达拷锟斤拷锟斤拷锟捷憋拷锟斤拷锟秸碉拷锟斤拷 */
          {
              g_remote_sta &= ~0X10;    /* 取锟斤拷锟斤拷锟斤拷锟斤拷锟窖撅拷锟斤拷锟斤拷锟斤拷锟斤�??? */

              if ((g_remote_sta & 0X0F) == 0X00)
              {
                  g_remote_sta |= 1 << 6; /* 锟斤拷锟斤拷丫锟斤拷锟斤拷一锟轿帮拷锟斤拷锟侥硷拷�?�锟斤拷息锟缴硷�??? */
              }

              if ((g_remote_sta & 0X0F) < 14)
              {
                  g_remote_sta++;
              }
              else
              {
                  g_remote_sta &= ~(1 << 7);    /* 锟斤拷锟斤拷锟斤拷锟斤拷锟绞�??? */
                  g_remote_sta &= 0XF0;         /* 锟斤拷占锟斤拷锟斤拷锟� */
              }
          }
      }
    }

//    else   if (htim == &htim6)
//    {
//        Get_Motor_Speed(&leftSpeed,&rightSpeed);
//
//    }

}
//
//void start(){
////  lcd_show_num(10, 250, key, 3, 16, BLUE);
//
//  uint8_t x = 0;
//   uint8_t lcd_id[12];
//   uint8_t key;
//   uint8_t t = 0;
//   char *str = 0;
//
//        key = remote_scan();
//             if (key)
//             {
//             lcd_show_num(10, 250, key, 3, 16, BLUE);
//             lcd_show_num(10, 260, g_remote_cnt, 3, 16, BLUE);
//             switch (key)
//             {
//             case 0:
//             str = "ERROR";
//             break;
//             case 69:
//             str = "POWER";
//             break;
//             case 70:
//             str = "UP";
//             break;
//             case 64:
//             str = "PLAY";
//             break;
//             case 71:
//             str = "ALIENTEK";
//             break;
//             case 67:
//             str = "RIGHT";
//             break;
//             case 68:
//             str = "LEFT";
//             break;
//             case 7:
//             str = "VOL-";
//             break;
//             case 21:
//             str = "DOWN";
//             break;
//             case 9:
//             str = "VOL+";
//             break;
//             case 22:
//             str = "1";
//             HAL_GPIO_WritePin(INA1_GPIO_Port, INA1_Pin,GPIO_PIN_RESET);
//             HAL_GPIO_WritePin(INA2_GPIO_Port, INA2_Pin,GPIO_PIN_SET);
//             HAL_GPIO_WritePin(INB1_GPIO_Port, INB1_Pin,GPIO_PIN_RESET);
//             HAL_GPIO_WritePin(INB2_GPIO_Port, INB2_Pin,GPIO_PIN_SET);
//             break;
//             case 25:
//             str = "2";
//             HAL_GPIO_WritePin(INA1_GPIO_Port, INA1_Pin,GPIO_PIN_RESET);
//             HAL_GPIO_WritePin(INA2_GPIO_Port, INA2_Pin,GPIO_PIN_SET);
//             HAL_GPIO_WritePin(INB1_GPIO_Port, INB1_Pin,GPIO_PIN_RESET);
//             HAL_GPIO_WritePin(INB2_GPIO_Port, INB2_Pin,GPIO_PIN_SET);
//             break;
//             case 13:
//             str = "3";
//             break;
//             case 12:
//             str = "4";
//             HAL_GPIO_WritePin(INA1_GPIO_Port, INA1_Pin,GPIO_PIN_SET);
//             HAL_GPIO_WritePin(INA2_GPIO_Port, INA2_Pin,GPIO_PIN_RESET);
//             HAL_GPIO_WritePin(INB1_GPIO_Port, INB1_Pin,GPIO_PIN_SET);
//             HAL_GPIO_WritePin(INB2_GPIO_Port, INB2_Pin,GPIO_PIN_RESET);
//             break;
//             case 24:
//             str = "5";
//             break;
//             case 94:
//             str = "6";
//             break;
//             case 8:
//             str = "7";
//             break;
//             case 28:
//             str = "8";
//             break;
//             case 90:
//             str = "9";
//             break;
//             case 66:
//             str = "0";
//             break;
//             case 74:
//             str = "DELETE";
//             break;
//             }
//             lcd_fill(86, 150, 116 + 8 * 8, 170 + 16, WHITE);
//             lcd_show_string(86, 150, 200, 16, 16, str, BLUE);
//             }
//             else
//             {
//             delay_ms(10);
//             } t ++;
//             if (t == 20)
//               {
//               t = 0;
//               LED0_TOGGLE(); /* LED0 锟斤拷烁 */
//               }
//
//}

/* USER CODE END 4 */

void Error_Handler(void)
{
  __disable_irq();
  while (1)
  {
  }
}
